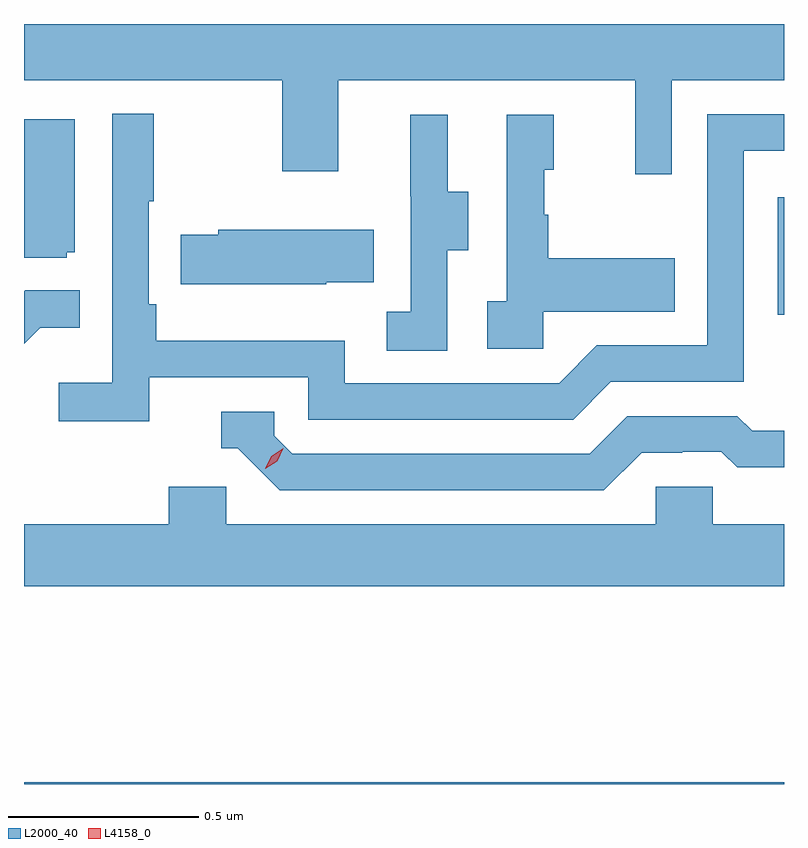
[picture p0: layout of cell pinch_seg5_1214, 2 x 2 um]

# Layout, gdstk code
import gdstk
lib = gdstk.Library(unit=1e-6, precision=1e-09)
def R(c, l, rs):  # rectangles x0, y0, x1, y1
    for r in rs: c.add(gdstk.rectangle(r[:2], r[2:], *l))
def P(c, l, *ps):  # polygons
    for p in ps: c.add(gdstk.Polygon(p, *l))
L2000_40 = (2000, 40)
L4158_0 = (4158, 0)

pinch_seg5_1214 = lib.new_cell('pinch_seg5_1214')
R(pinch_seg5_1214, L2000_40, [(865.334,841.588,867.334,841.592), (867.318,842.823,867.334,843.132)])
P(pinch_seg5_1214, L2000_40, [(867.039,843.44),(867.334,843.44),(867.334,843.588),(865.334,843.588),(865.334,843.44),(866.014,843.44),(866.014,843.201),(866.161,843.201),(866.161,843.44),(866.942,843.44),(866.942,843.192),(867.039,843.192)],
  [(865.664,842.658),(866.082,842.658),(866.082,842.547),(866.779,842.547),(866.878,842.646),(867.228,842.646),(867.228,843.255),(867.334,843.255),(867.334,843.351),(867.132,843.351),(867.132,842.742),(866.841,842.742),(866.742,842.643),(866.178,842.643),(866.178,842.755),(865.682,842.755),(865.682,842.851),(865.662,842.851),(865.662,843.121),(865.675,843.121),(865.675,843.352),(865.566,843.352),(865.566,842.644),(865.425,842.644),(865.425,842.542),(865.664,842.542)],
  [(866.448,842.992),(866.503,842.992),(866.503,843.147),(866.449,843.147),(866.449,843.349),(866.351,843.349),(866.351,843.135),(866.352,843.135),(866.352,842.831),(866.289,842.831),(866.289,842.728),(866.448,842.728)],
  [(866.7,842.831),(867.047,842.831),(867.047,842.971),(866.713,842.971),(866.713,843.086),(866.703,843.086),(866.703,843.204),(866.728,843.204),(866.728,843.349),(866.604,843.349),(866.604,842.858),(866.553,842.858),(866.553,842.733),(866.7,842.733)],
  [(865.446,842.988),(865.468,842.988),(865.468,843.337),(865.334,843.337),(865.334,842.973),(865.446,842.973)],
  [(866.13,842.909),(866.255,842.909),(866.255,843.046),(865.845,843.046),(865.845,843.033),(865.747,843.033),(865.747,842.903),(866.13,842.903)],
  [(865.377,842.789),(865.481,842.789),(865.481,842.888),(865.337,842.888),(865.334,842.885),(865.334,842.746)],
  [(866.959,842.46),(867.066,842.46),(867.066,842.463),(867.169,842.463),(867.211,842.421),(867.334,842.421),(867.334,842.517),(867.25,842.517),(867.211,842.556),(866.922,842.556),(866.823,842.457),(866.04,842.457),(865.992,842.505),(865.992,842.568),(865.853,842.568),(865.853,842.472),(865.896,842.472),(866.007,842.361),(866.86,842.361)],
  [(867.334,842.272),(867.147,842.272),(867.147,842.37),(866.997,842.37),(866.997,842.272),(865.866,842.272),(865.866,842.37),(865.715,842.37),(865.715,842.272),(865.334,842.272),(865.334,842.108),(867.334,842.108)])
P(pinch_seg5_1214, L4158_0, [(865.969,842.418),(865.969,842.419),(865.985,842.451),(866.016,842.471),(866.016,842.471),(866.016,842.471),(866,842.438),(865.969,842.418)])

lib.write_gds('pinch_seg5_1214.gds')
